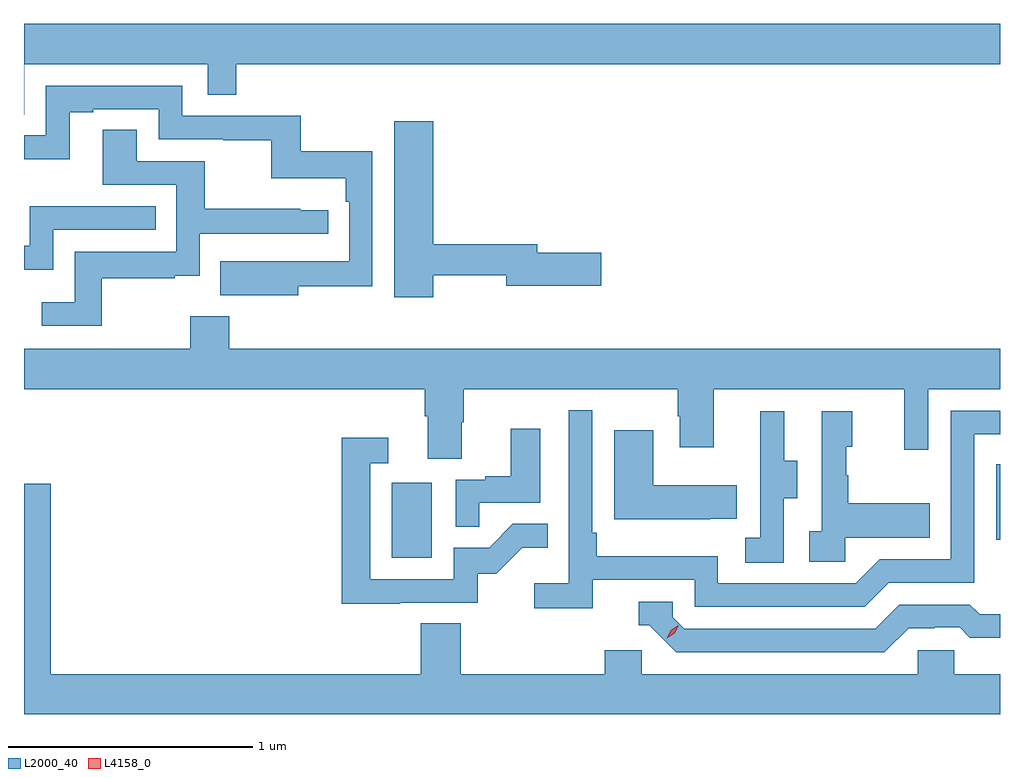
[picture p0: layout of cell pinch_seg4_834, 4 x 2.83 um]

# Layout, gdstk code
import gdstk
lib = gdstk.Library(unit=1e-6, precision=1e-09)
def R(c, l, rs):  # rectangles x0, y0, x1, y1
    for r in rs: c.add(gdstk.rectangle(r[:2], r[2:], *l))
def P(c, l, *ps):  # polygons
    for p in ps: c.add(gdstk.Polygon(p, *l))
L2000_40 = (2000, 40)
L4158_0 = (4158, 0)

pinch_seg4_834 = lib.new_cell('pinch_seg4_834')
R(pinch_seg4_834, L2000_40, [(887.264,805.452,887.428,805.759), (889.74,805.527,889.756,805.836)])
P(pinch_seg4_834, L2000_40, [(885.757,807.476),(886.509,807.476),(886.509,807.349),(886.625,807.349),(886.625,807.476),(889.756,807.476),(889.756,807.64),(885.756,807.64),(885.756,807.268),(885.757,807.268)],
  [(886.879,806.566),(887.184,806.566),(887.184,807.118),(886.891,807.118),(886.891,807.264),(886.404,807.264),(886.404,807.387),(885.846,807.387),(885.846,807.183),(885.756,807.183),(885.756,807.086),(885.943,807.086),(885.943,807.279),(886.039,807.279),(886.039,807.291),(886.308,807.291),(886.308,807.168),(886.573,807.168),(886.573,807.163),(886.77,807.163),(886.77,807.008),(887.075,807.008),(887.075,806.912),(887.088,806.912),(887.088,806.667),(886.775,806.667),(886.775,806.668),(886.561,806.668),(886.561,806.528),(886.879,806.528)],
  [(887.434,806.61),(887.732,806.61),(887.732,806.567),(888.121,806.567),(888.121,806.702),(887.86,806.702),(887.86,806.738),(887.434,806.738),(887.434,807.241),(887.273,807.241),(887.273,806.52),(887.434,806.52)],
  [(886.075,806.598),(886.373,806.598),(886.373,806.609),(886.476,806.609),(886.476,806.781),(887.002,806.781),(887.002,806.877),(886.889,806.877),(886.889,806.882),(886.496,806.882),(886.496,807.078),(886.219,807.078),(886.219,807.206),(886.079,807.206),(886.079,806.982),(886.38,806.982),(886.38,806.706),(885.964,806.706),(885.964,806.5),(885.829,806.5),(885.829,806.403),(886.075,806.403)],
  [(885.876,806.796),(886.295,806.796),(886.295,806.892),(885.78,806.892),(885.78,806.731),(885.756,806.731),(885.756,806.633),(885.876,806.633)],
  [(887.551,806.007),(887.559,806.007),(887.559,806.144),(888.436,806.144),(888.436,806.033),(888.443,806.033),(888.443,805.905),(888.583,805.905),(888.583,806.144),(889.364,806.144),(889.364,805.896),(889.461,805.896),(889.461,806.144),(889.756,806.144),(889.756,806.308),(886.598,806.308),(886.598,806.443),(886.438,806.443),(886.438,806.308),(885.756,806.308),(885.756,806.144),(887.399,806.144),(887.399,806.032),(887.411,806.032),(887.411,805.858),(887.551,805.858)],
  [(888.086,805.362),(888.504,805.362),(888.504,805.251),(889.201,805.251),(889.3,805.35),(889.65,805.35),(889.65,805.959),(889.756,805.959),(889.756,806.055),(889.554,806.055),(889.554,805.446),(889.263,805.446),(889.164,805.347),(888.6,805.347),(888.6,805.459),(888.104,805.459),(888.104,805.555),(888.084,805.555),(888.084,806.056),(887.988,806.056),(887.988,805.348),(887.847,805.348),(887.847,805.246),(888.086,805.246)],
  [(888.87,805.696),(888.925,805.696),(888.925,805.851),(888.871,805.851),(888.871,806.053),(888.773,806.053),(888.773,805.839),(888.774,805.839),(888.774,805.535),(888.711,805.535),(888.711,805.432),(888.87,805.432)],
  [(889.122,805.535),(889.469,805.535),(889.469,805.675),(889.135,805.675),(889.135,805.79),(889.125,805.79),(889.125,805.908),(889.15,805.908),(889.15,806.053),(889.026,806.053),(889.026,805.562),(888.975,805.562),(888.975,805.437),(889.122,805.437)],
  [(887.621,805.677),(887.872,805.677),(887.872,805.981),(887.75,805.981),(887.75,805.786),(887.647,805.786),(887.647,805.773),(887.526,805.773),(887.526,805.579),(887.621,805.579)],
  [(888.569,805.613),(888.677,805.613),(888.677,805.75),(888.334,805.75),(888.334,805.975),(888.176,805.975),(888.176,805.61),(888.569,805.61)],
  [(887.297,805.269),(887.616,805.269),(887.616,805.386),(887.692,805.386),(887.799,805.493),(887.903,805.493),(887.903,805.592),(887.76,805.592),(887.662,805.494),(887.517,805.494),(887.517,805.365),(887.175,805.365),(887.175,805.839),(887.248,805.839),(887.248,805.945),(887.059,805.945),(887.059,805.264),(887.297,805.264)],
  [(889.756,804.976),(889.569,804.976),(889.569,805.074),(889.419,805.074),(889.419,804.976),(888.288,804.976),(888.288,805.074),(888.137,805.074),(888.137,804.976),(887.546,804.976),(887.546,805.184),(887.381,805.184),(887.381,804.976),(885.866,804.976),(885.866,805.756),(885.756,805.756),(885.756,804.812),(889.756,804.812)],
  [(889.381,805.164),(889.488,805.164),(889.488,805.167),(889.591,805.167),(889.633,805.125),(889.756,805.125),(889.756,805.221),(889.672,805.221),(889.633,805.26),(889.344,805.26),(889.245,805.161),(888.462,805.161),(888.414,805.209),(888.414,805.272),(888.275,805.272),(888.275,805.176),(888.318,805.176),(888.429,805.065),(889.282,805.065)])
P(pinch_seg4_834, L4158_0, [(888.391,805.123),(888.391,805.123),(888.407,805.156),(888.438,805.175),(888.438,805.175),(888.438,805.174),(888.422,805.142),(888.391,805.123)])

lib.write_gds('pinch_seg4_834.gds')
